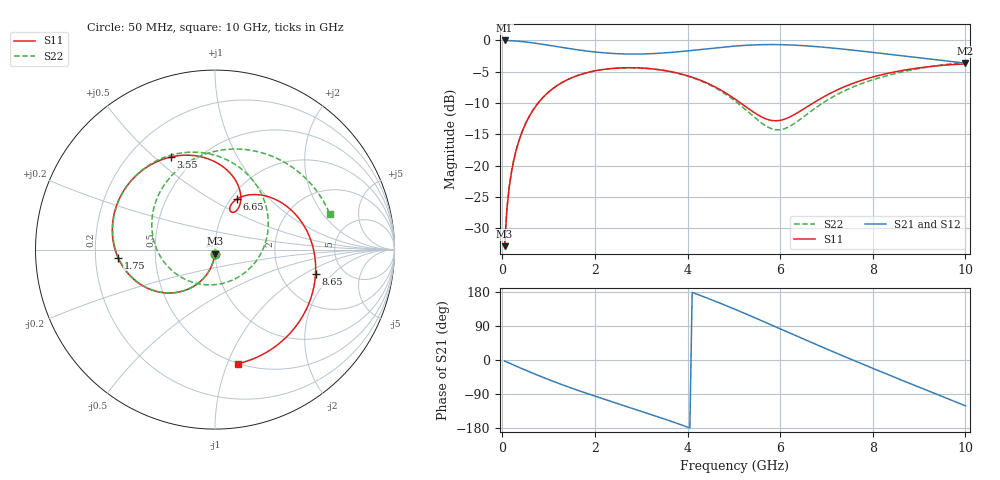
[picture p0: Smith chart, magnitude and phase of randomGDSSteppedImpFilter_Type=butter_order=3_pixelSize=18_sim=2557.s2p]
! freq	dB(S11)	phase(S11)	dB(S12)	phase(S12)
!  dB(S21)	phase(S21)	dB(S22)	phase(S22)
!S-par simulation data
#  GHz  S  DB  R 50
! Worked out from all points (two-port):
!   200 points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, 50 MHz to 10 GHz, reference 50 ohm
!   highest |S21| = -0.01 dB at 50 MHz (marker M1); lowest = -3.6 dB at 10 GHz (marker M2)
!   |S21| within 3 dB of the highest: start of sweep to 9.262 GHz
!   lowest |S11| = -32.9 dB at 50 MHz (marker M3), VSWR 1.05, Z = 49.8 - j2.26 ohm
!   |S11| at or under -10 dB: start of sweep to 775.2 MHz; 5.148 GHz to 6.714 GHz (1.566 GHz wide, 26.4 % of centre)
!   |S22| runs from -32.9 to -3.5 dB; largest |S21 - S12| = 0
!   S11 on the Smith chart (normalised r, x): 50 MHz: 1.00, -0.05; 1.75 GHz: 0.30, -0.04; 3.55 GHz: 0.37, +0.57; 6.65 GHz: 1.06, +0.66; 8.65 GHz: 3.15, -1.29; 10 GHz: 0.50, -1.10
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0.05  -32.87 -92.8  -0.01 -2.7  -0.01 -2.7  -32.88 -92.9
0.1  -26.88 -95.8  -0.02 -5.5  -0.02 -5.5  -26.88 -95.8
0.2  -20.94 -101.4  -0.05 -10.9  -0.05 -10.9  -20.94 -101.4
0.5  -13.34 -117.3  -0.24 -26.7  -0.24 -26.7  -13.35 -117.3
1.1  -7.65 -146.8  -0.89 -56.4  -0.89 -56.4  -7.65 -147.0
1.75  -5.31 -175.3  -1.63 -85.0  -1.63 -85.0  -5.31 -175.9
2.5  -4.41 155.0  -2.13 -115.3  -2.13 -115.3  -4.42 153.3
3.4  -4.69 120.9  -2.05 -151.4  -2.05 -151.4  -4.71 115.7
3.55  -4.86 115.3  -1.97 -157.6  -1.97 -157.6  -4.89 109.0
4.35  -6.58 85.6  -1.40 166.9  -1.40 166.9  -6.66 69.1
5.05  -9.49 64.7  -0.89 132.5  -0.89 132.5  -9.81 23.4
5.45  -11.57 60.5  -0.71 111.7  -0.71 111.7  -12.31 -12.9
5.85  -12.82 65.3  -0.66 90.4  -0.66 90.4  -14.19 -61.8
6.25  -12.08 70.5  -0.73 69.0  -0.73 69.0  -13.54 -114.5
6.65  -10.29 66.7  -0.91 47.7  -0.91 47.7  -11.40 -155.3
6.7  -10.06 65.6  -0.94 45.0  -0.94 45.0  -11.13 -159.5
7.1  -8.38 53.6  -1.20 24.1  -1.20 24.1  -9.18 170.5
7.5  -7.06 38.0  -1.50 3.4  -1.50 3.4  -7.67 145.3
8.35  -5.21 0.2  -2.21 -39.5  -2.21 -39.5  -5.54 98.7
8.65  -4.78 -13.7  -2.47 -54.4  -2.47 -54.4  -5.01 83.4
9.3  -4.12 -44.3  -3.04 -86.5  -3.04 -86.5  -4.12 51.0
10  -3.76 -78.4  -3.63 -120.8  -3.63 -120.8  -3.49 17.2
